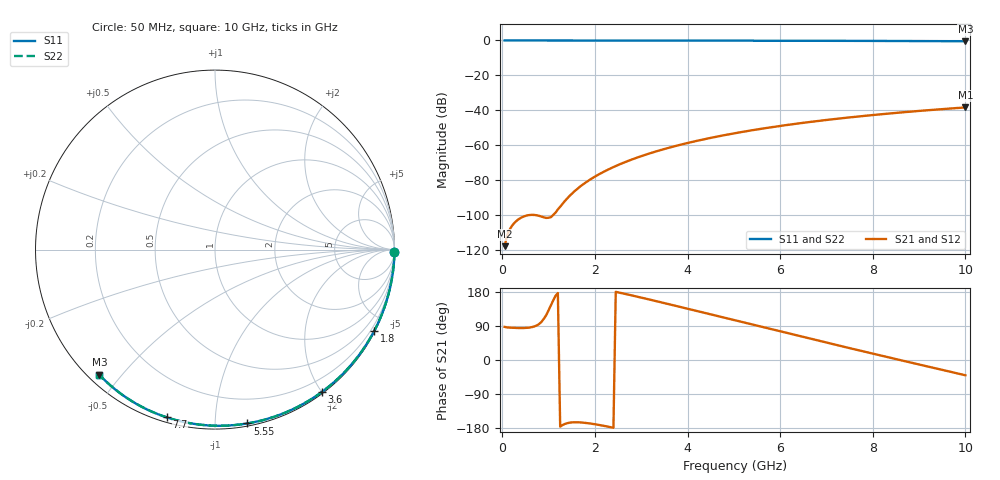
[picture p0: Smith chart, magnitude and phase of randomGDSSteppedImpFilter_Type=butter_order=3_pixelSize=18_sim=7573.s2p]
! freq	dB(S11)	phase(S11)	dB(S12)	phase(S12)
!  dB(S21)	phase(S21)	dB(S22)	phase(S22)
!S-par simulation data
#  GHz  S  DB  R 50
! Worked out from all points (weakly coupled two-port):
!   200 points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, 50 MHz to 10 GHz, reference 50 ohm
!   highest |S21| = -38.31 dB at 10 GHz (marker M1); lowest = -117.6 dB at 50 MHz (marker M2)
!   lowest |S11| = -0.4 dB at 10 GHz (marker M3), VSWR 38.74, Z = 1.54 - j21.9 ohm
!   |S11| at or under -10 dB: nowhere
!   |S22| runs from -0.4 to 0.0 dB; largest |S21 - S12| = 0
!   S11 on the Smith chart (normalised r, x): 50 MHz: open; 1.8 GHz: 0.04, -4.13; 3.6 GHz: 0.02, -2.00; 5.55 GHz: 0.02, -1.20; 7.7 GHz: 0.02, -0.75; 10 GHz: 0.03, -0.44
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0.05  -0.00 -0.8  -117.65 87.4  -117.65 87.4  -0.00 -0.8
0.9  -0.02 -13.7  -101.19 109.3  -101.19 109.3  -0.02 -13.7
1.75  -0.03 -26.5  -82.19 -165.3  -82.19 -165.3  -0.03 -26.5
1.8  -0.03 -27.2  -81.24 -166.0  -81.24 -166.0  -0.03 -27.2
1.85  -0.04 -28.0  -80.35 -166.7  -80.35 -166.7  -0.04 -28.0
1.9  -0.04 -28.7  -79.49 -167.6  -79.49 -167.6  -0.04 -28.7
2.05  -0.04 -30.9  -77.10 -170.5  -77.10 -170.5  -0.04 -30.9
2.25  -0.04 -33.8  -74.29 -175.1  -74.29 -175.1  -0.04 -33.8
2.45  -0.05 -36.8  -71.81 179.9  -71.81 179.9  -0.05 -36.8
2.65  -0.05 -39.7  -69.58 174.5  -69.58 174.5  -0.05 -39.7
3  -0.06 -44.7  -66.17 164.7  -66.17 164.7  -0.06 -44.7
3.4  -0.07 -50.4  -62.83 153.1  -62.83 153.1  -0.07 -50.4
3.6  -0.07 -53.2  -61.34 147.2  -61.34 147.2  -0.07 -53.2
4.3  -0.09 -62.9  -56.83 126.4  -56.83 126.4  -0.09 -62.9
5.05  -0.11 -72.9  -52.92 103.9  -52.92 103.9  -0.11 -72.9
5.55  -0.13 -79.4  -50.69 88.9  -50.69 88.9  -0.13 -79.4
6.1  -0.15 -86.5  -48.52 72.5  -48.52 72.5  -0.15 -86.5
6.7  -0.18 -94.0  -46.43 54.7  -46.43 54.7  -0.18 -93.9
7.7  -0.24 -106.1  -43.45 25.5  -43.45 25.5  -0.24 -106.1
8.35  -0.29 -113.7  -41.79 6.7  -41.79 6.7  -0.29 -113.7
9.15  -0.36 -123.0  -39.98 -16.2  -39.98 -16.2  -0.36 -123.0
10  -0.45 -132.7  -38.31 -40.3  -38.31 -40.3  -0.45 -132.7
